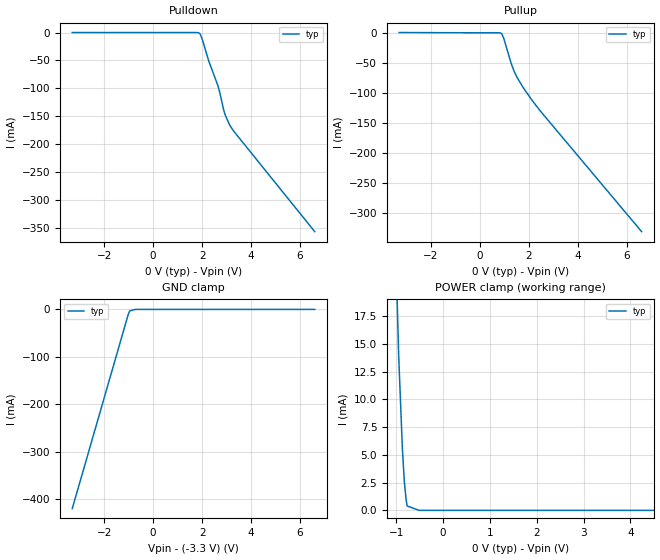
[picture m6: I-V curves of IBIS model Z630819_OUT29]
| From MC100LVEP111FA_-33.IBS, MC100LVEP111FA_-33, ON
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| (C) COPYRIGHT 1993-2000
| MENTOR GRAPHICS CORPORATION
| ICX STANDARD LIBRARY, ICX PROJECT MODELING,
| ICX CUSTOM MODELING, ICX VENDOR MODEL
| ALL RIGHTS RESERVED.
| THE FOLLOWING ARE TRADEMARKS OR SERVICE MARKS OF
| MENTOR GRAPHICS CORPORATION:ICX (R), ICX STANDARD
| LIBRARY(R), ICX PROJECT MODELING(R), ICX CUSTOM
| MODELING(R), qualityIBIS(TM), MODELVIEWER(TM),
| AND MODELEDITOR(TM)
| ALL COPIES OF SOFTWARE, INCLUDING BUT NOT LIMITED TO
| ANY MODIFICATIONS, ENHANCEMENTS OR DERIVATIVE WORKS,
| MUST CONTAIN ALL MENTOR GRAPHICS CORPORATION'S
| NOTICES AND LEGENDS, INCLUDING THOSE EMBEDDED IN
| SOFTWARE AND THOSE AFFIXED TO SOFTWARE MEDIUM
| AND CONTAINER, AS RECEIVED FROM MENTOR GRAPHICS
| CORPORATION.
| Model Application Version 1.89 2/18/99.
[Model] Z630819_OUT29
Model_type Output_ECL
Vref=-2.000V
Rref=50.00ohms
Cref=0.000F
Vmeas=-1.420V
C_comp 2.000pF NA NA
| variable typ   min   max
[Voltage Range] -3.300V NA NA
[POWER Clamp Reference] 0.000V NA NA
[Pullup Reference] 0.000V NA NA
[Pulldown Reference] 0.000V NA NA
[GND Clamp Reference] -3.300V NA NA
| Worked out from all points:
|   GND clamp passes 1 mA (typ) near -0.80 V on its own axis
|   POWER clamp passes 1 mA (typ) near -0.79 V on its own axis
[GND Clamp]
-3.3V     -419.1mA   NA         NA
-1.014V   -10.39mA   NA         NA
-953mV    -2.907mA   NA         NA
-714.8mV  0A         NA         NA
6.6V      0A         NA         NA
[Pulldown]
-3.3V     0A         NA         NA
1.861V    -400uA     NA         NA
1.922V    -2.7mA     NA         NA
2.003V    -11.5mA    NA         NA
2.266V    -50.2mA    NA         NA
2.651V    -95.7mA    NA         NA
2.733V    -109.2mA   NA         NA
2.874V    -137.6mA   NA         NA
2.955V    -148.7mA   NA         NA
3.118V    -164.9mA   NA         NA
3.28V     -175.9mA   NA         NA
6.6V      -356.4mA   NA         NA
[Pullup]
-3.3V     450.5uA    NA         NA
852mV     -500uA     NA         NA
893mV     -1.9mA     NA         NA
974mV     -9.6mA     NA         NA
1.278V    -51.4mA    NA         NA
1.399V    -64.3mA    NA         NA
1.521V    -74.6mA    NA         NA
1.785V    -92.3mA    NA         NA
2.129V    -112.3mA   NA         NA
2.474V    -130.4mA   NA         NA
6.6V      -330.3mA   NA         NA
[POWER Clamp]
-3.3V     374.2mA    NA         NA
-952mV    14.07mA    NA         NA
-871mV    5.478mA    NA         NA
-830mV    2.584mA    NA         NA
-790mV    888.9uA    NA         NA
-769mV    391.8uA    NA         NA
-512.7mV  0A         NA         NA
6.6V      0A         NA         NA
[Ramp]
| variable typ min max
dV/dt_r 479.4m/202p NA NA
dV/dt_f 479.4m/194p NA NA
R_load = 50.00Ohms
